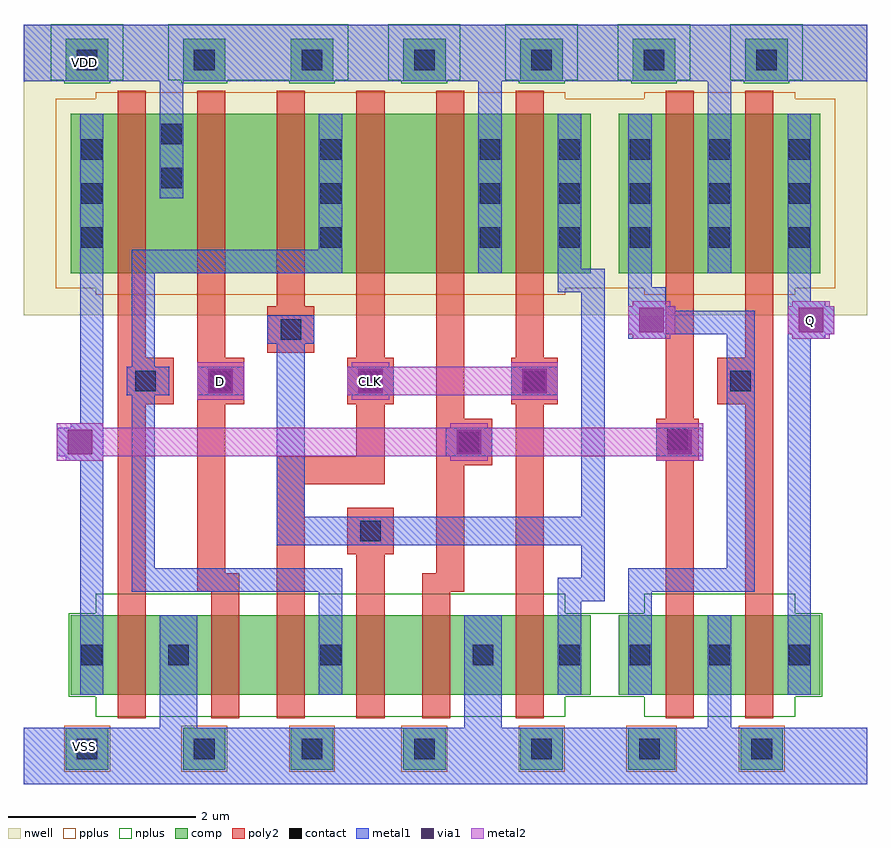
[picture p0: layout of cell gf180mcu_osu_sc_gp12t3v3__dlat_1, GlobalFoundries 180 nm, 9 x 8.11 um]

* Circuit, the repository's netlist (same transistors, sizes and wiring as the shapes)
* Copyright 2022 Google LLC
*
* Licensed under the Apache License, Version 2.0 (the "License");
* you may not use this file except in compliance with the License.
* You may obtain a copy of the License at
*
*      http://www.apache.org/licenses/LICENSE-2.0
*
* Unless required by applicable law or agreed to in writing, software
* distributed under the License is distributed on an "AS IS" BASIS,
* WITHOUT WARRANTIES OR CONDITIONS OF ANY KIND, either express or implied.
* See the License for the specific language governing permissions and
* limitations under the License.

.inc "/import/yukari1/lrburle/OSU_180/char/techfiles/design.hspice"
.lib "/import/yukari1/lrburle/OSU_180/char/techfiles/sm141064.hspice" typical

.GLOBAL VDD
.GLOBAL VSS

.option scale=0.05u

.subckt gf180mcu_osu_sc_gp12t3v3__dlat_1 D CLK Q
X0 a_52_92 CLK VDD VDD pmos_3p3 w=34 l=6
X1 a_46_19 D VSS VSS nmos_3p3 w=17 l=6
X2 a_20_14 CLK a_46_19 VSS nmos_3p3 w=17 l=6
X3 VSS a_10_19 a_127_19 VSS nmos_3p3 w=17 l=6
X4 VDD a_10_19 a_77_109 VDD pmos_3p3 w=34 l=6
X5 a_77_109 CLK a_20_14 VDD pmos_3p3 w=34 l=6
X6 a_20_14 a_52_92 a_43_109 VDD pmos_3p3 w=34 l=6
X7 VDD a_20_14 a_10_19 VDD pmos_3p3 w=34 l=6
X8 a_43_109 D VDD VDD pmos_3p3 w=34 l=6
X9 Q a_127_19 VDD VDD pmos_3p3 w=34 l=6
X10 VDD a_10_19 a_127_19 VDD pmos_3p3 w=34 l=6
X11 a_77_19 a_52_92 a_20_14 VSS nmos_3p3 w=17 l=6
X12 Q a_127_19 VSS VSS nmos_3p3 w=17 l=6
X13 VSS a_10_19 a_77_19 VSS nmos_3p3 w=17 l=6
X14 a_52_92 CLK VSS VSS nmos_3p3 w=17 l=6
X15 VSS a_20_14 a_10_19 VSS nmos_3p3 w=17 l=6
.ends

** hspice subcircuit dictionary

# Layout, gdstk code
import gdstk
lib = gdstk.Library(unit=1e-6, precision=1e-09)
def R(c, l, rs):  # rectangles x0, y0, x1, y1
    for r in rs: c.add(gdstk.rectangle(r[:2], r[2:], *l))
def A(c, l, x, y, w, h, nx, ny, dx, dy):  # array of equal rectangles
    R(c, l, [(x+i*dx, y+j*dy, x+i*dx+w, y+j*dy+h) for i in range(nx) for j in range(ny)])
nwell = (21, 0)
comp = (22, 0)
poly2 = (30, 0)
pplus = (31, 0)
nplus = (32, 0)
contact = (33, 0)
metal1 = (34, 0)
via1 = (35, 0)
metal2 = (36, 0)

gf180mcu_osu_sc_gp12t3v3 = lib.new_cell('gf180mcu_osu_sc_gp12t3v3__dlat_1')
R(gf180mcu_osu_sc_gp12t3v3, nwell, [(0,5,9,8.1)])
A(gf180mcu_osu_sc_gp12t3v3, comp, 5.3, 7.5, 0.45, 0.45, 3, 1, 1.2, 0)
R(gf180mcu_osu_sc_gp12t3v3, comp, [(0.45,0.15,0.9,0.6), (1.7,0.15,2.15,0.6), (2.85,0.15,3.3,0.6), (4.05,0.15,4.5,0.6), (5.3,0.15,5.75,0.6), (6.45,0.15,6.95,0.6), (7.65,0.15,8.1,0.6), (0.5,0.95,6.05,1.8), (6.35,0.95,8.5,1.8), (0.5,5.45,6.05,7.15), (6.35,5.45,8.5,7.15), (0.45,7.5,0.9,7.95), (1.7,7.5,2.15,7.95), (2.85,7.5,3.3,7.95), (4.05,7.5,4.5,7.95)])
A(gf180mcu_osu_sc_gp12t3v3, poly2, 1.85, 4.55, 0.3, 2.85, 3, 1, 1.7, 0)
R(gf180mcu_osu_sc_gp12t3v3, poly2, [(1,0.7,1.3,4.05), (2,0.7,2.3,2.05), (2.7,0.7,3,3.2), (3.55,0.7,3.85,2.45), (4.25,0.7,4.55,2.05), (5.25,0.7,5.55,4.05), (6.85,0.7,7.15,3.45), (7.7,0.7,8,4.05), (1.85,2.05,2.3,2.25), (4.25,2.05,4.7,2.25), (1.85,2.25,2.15,4.05), (4.4,2.25,4.7,3.4), (3.45,2.45,3.95,2.95), (2.7,3.2,3.85,3.5), (4.4,3.4,5,3.9), (6.75,3.45,7.2,3.9), (3.55,3.5,3.85,4.05), (4.4,3.9,4.7,7.4), (6.85,3.9,7.15,7.4), (1,4.05,1.6,4.55), (1.85,4.05,2.35,4.55), (3.45,4.05,3.95,4.55), (5.2,4.05,5.7,4.55), (7.4,4.05,8,4.55), (1,4.55,1.3,7.4), (7.7,4.55,8,7.4), (2.6,4.6,3.1,5.1), (2.7,5.1,3,7.4)])
R(gf180mcu_osu_sc_gp12t3v3, pplus, [(0.43,0.13,0.92,0.62), (1.68,0.13,2.17,0.62), (2.83,0.13,3.32,0.62), (4.03,0.13,4.52,0.62), (5.28,0.13,5.77,0.62), (6.43,0.13,6.97,0.62), (7.63,0.13,8.12,0.62), (0.77,5.22,5.78,5.29), (6.62,5.22,8.23,5.29), (0.34,5.29,8.66,7.31), (0.77,7.31,5.78,7.38), (6.62,7.31,8.23,7.38)])
A(gf180mcu_osu_sc_gp12t3v3, nplus, 5.28, 7.48, 0.49, 0.03, 3, 1, 1.2, 0)
A(gf180mcu_osu_sc_gp12t3v3, nplus, 5.14, 7.51, 0.77, 0.6, 3, 1, 1.2, 0)
R(gf180mcu_osu_sc_gp12t3v3, nplus, [(0.77,0.72,5.78,0.93), (6.62,0.72,8.23,0.93), (0.48,0.93,8.52,1.82), (0.77,1.82,5.78,2.03), (6.62,1.82,8.23,2.03), (0.43,7.48,0.92,7.51), (1.68,7.48,2.17,7.51), (2.83,7.48,3.32,7.51), (4.03,7.48,4.52,7.51), (0.29,7.51,1.06,8.11), (1.54,7.51,3.46,8.11), (3.89,7.51,4.66,8.11)])
A(gf180mcu_osu_sc_gp12t3v3, contact, 1.54, 1.265, 0.22, 0.22, 3, 1, 1.625, 0)
A(gf180mcu_osu_sc_gp12t3v3, contact, 6.465, 1.265, 0.22, 0.22, 3, 2, 0.85, 4.455)
A(gf180mcu_osu_sc_gp12t3v3, contact, 0.615, 5.72, 0.22, 0.22, 1, 3, 0, 0.47)
A(gf180mcu_osu_sc_gp12t3v3, contact, 3.165, 5.72, 0.22, 0.22, 1, 3, 0, 0.47)
A(gf180mcu_osu_sc_gp12t3v3, contact, 4.865, 5.72, 0.22, 0.22, 1, 3, 0, 0.47)
A(gf180mcu_osu_sc_gp12t3v3, contact, 5.715, 5.72, 0.22, 0.22, 1, 3, 0, 0.47)
A(gf180mcu_osu_sc_gp12t3v3, contact, 6.465, 6.19, 0.22, 0.22, 3, 2, 0.85, 0.47)
A(gf180mcu_osu_sc_gp12t3v3, contact, 5.415, 7.615, 0.22, 0.22, 3, 1, 1.2, 0)
R(gf180mcu_osu_sc_gp12t3v3, contact, [(0.565,0.265,0.785,0.485), (1.815,0.265,2.035,0.485), (2.965,0.265,3.185,0.485), (4.165,0.265,4.385,0.485), (5.415,0.265,5.635,0.485), (6.565,0.265,6.785,0.485), (7.765,0.265,7.985,0.485), (0.615,1.265,0.835,1.485), (5.715,1.265,5.935,1.485), (3.59,2.59,3.81,2.81), (4.64,3.54,4.86,3.76), (6.865,3.565,7.085,3.785), (1.19,4.19,1.41,4.41), (1.99,4.19,2.21,4.41), (3.59,4.19,3.81,4.41), (5.34,4.19,5.56,4.41), (7.54,4.19,7.76,4.41), (2.74,4.74,2.96,4.96), (1.465,6.355,1.685,6.575), (1.465,6.825,1.685,7.045), (0.565,7.615,0.785,7.835), (1.815,7.615,2.035,7.835), (2.965,7.615,3.185,7.835), (4.165,7.615,4.385,7.835)])
R(gf180mcu_osu_sc_gp12t3v3, metal1, [(0,0,9,0.6), (1.45,0.6,1.85,1.8), (4.7,0.6,5.1,1.8), (7.3,0.6,7.55,1.8), (0.6,0.95,0.85,3.45), (3.15,0.95,3.4,2.05), (5.7,0.95,5.95,1.95), (6.45,0.95,6.7,2.05), (8.15,0.95,8.4,4.75), (5.7,1.95,6.2,2.2), (1.15,2.05,3.4,2.3), (6.45,2.05,7.8,2.3), (5.95,2.2,6.2,2.55), (1.15,2.3,1.4,4.15), (7.5,2.3,7.8,4.8), (2.7,2.55,6.2,2.85), (2.7,2.85,3,4.7), (5.95,2.85,6.2,5.25), (0.45,3.45,0.85,3.5), (0.35,3.5,0.85,3.8), (4.5,3.5,5,3.8), (6.75,3.5,7.25,3.8), (0.5,3.8,0.85,3.85), (0.6,3.85,0.85,7.15), (1.1,4.15,1.55,4.45), (1.85,4.15,2.35,4.45), (3.45,4.15,3.95,4.45), (5.2,4.15,5.7,4.45), (1.15,4.45,1.4,5.45), (2.6,4.7,3.1,5), (6.45,4.75,6.85,4.8), (8.15,4.75,8.55,4.8), (6.45,4.8,7.8,5.05), (8.15,4.8,8.65,5.1), (6.45,5.05,6.95,5.1), (6.45,5.1,6.85,5.3), (8.15,5.1,8.55,5.15), (8.15,5.15,8.4,7.15), (5.7,5.25,6.2,5.5), (6.45,5.3,6.7,7.15), (1.15,5.45,3.4,5.7), (4.85,5.45,5.1,7.5), (7.3,5.45,7.55,7.5), (5.7,5.5,5.95,7.15), (3.15,5.7,3.4,7.15), (1.45,6.25,1.7,7.5), (0,7.5,9,8.1)])
R(gf180mcu_osu_sc_gp12t3v3, via1, [(0.47,3.52,0.73,3.78), (4.62,3.52,4.88,3.78), (6.87,3.52,7.13,3.78), (1.97,4.17,2.23,4.43), (3.57,4.17,3.83,4.43), (5.32,4.17,5.58,4.43), (6.57,4.82,6.83,5.08), (8.27,4.82,8.53,5.08)])
R(gf180mcu_osu_sc_gp12t3v3, metal2, [(0.35,3.45,0.85,3.5), (4.55,3.45,4.95,3.5), (6.75,3.45,7.25,3.5), (0.35,3.5,7.25,3.8), (0.35,3.8,0.85,3.85), (4.55,3.8,4.95,3.85), (6.75,3.8,7.25,3.85), (1.85,4.1,2.35,4.5), (3.5,4.1,3.9,4.15), (5.2,4.1,5.7,4.15), (3.45,4.15,5.7,4.45), (3.5,4.45,3.9,4.5), (5.2,4.45,5.7,4.5), (6.5,4.75,6.9,4.8), (8.2,4.75,8.6,4.8), (6.45,4.8,6.95,5.1), (8.15,4.8,8.65,5.1), (6.5,5.1,6.9,5.15), (8.2,5.1,8.6,5.15)])
gf180mcu_osu_sc_gp12t3v3.add(gdstk.Label('VDD', (0.65,7.7), layer=34, texttype=0))
gf180mcu_osu_sc_gp12t3v3.add(gdstk.Label('VSS', (0.65,0.4), layer=34, texttype=0))
gf180mcu_osu_sc_gp12t3v3.add(gdstk.Label('D', (2.1,4.3), layer=36, texttype=10))
gf180mcu_osu_sc_gp12t3v3.add(gdstk.Label('CLK', (3.7,4.3), layer=34, texttype=10))
gf180mcu_osu_sc_gp12t3v3.add(gdstk.Label('Q', (8.4,4.95), layer=36, texttype=10))

lib.write_gds('gf180mcu_osu_sc_gp12t3v3__dlat_1.gds')
